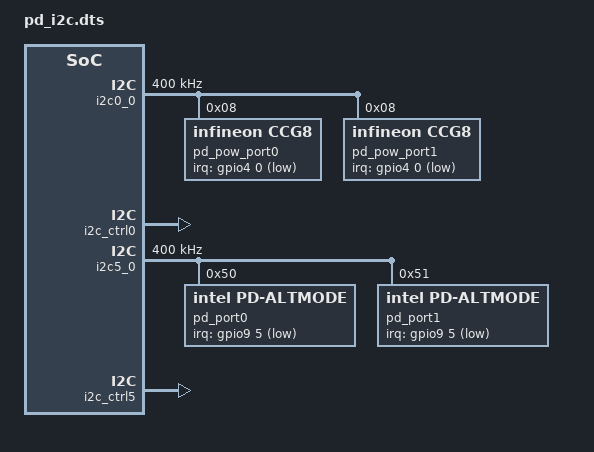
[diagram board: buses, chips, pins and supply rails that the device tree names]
/* Copyright 2023 The ChromiumOS Authors
 * Use of this source code is governed by a BSD-style license that can be
 * found in the LICENSE file.
 */

/ {
	named-i2c-ports {
		ec_pd_power: typec-aic1-power {
			i2c-port = <&i2c0_0>;
			enum-names = "I2C_PORT_TYPEC_AIC_1";
		};
		ec_pd_data: typec-aic-data {
			i2c-port = <&i2c5_0>;
			enum-names = "I2C_PORT_TYPEC_DATA";
		};
	};
};

/* typec-aic1-power */
&i2c0_0 {
	label = "I2C_PD_POWER";
	status = "okay";
	clock-frequency = <I2C_BITRATE_FAST>;
	pinctrl-0 = <&i2c0_0_sda_scl_gpb4_b5>;
	pinctrl-names = "default";
	pd_pow_port0: ccgP0@08 {
		compatible = "infineon,ccg8";
		reg = <0x08>;
		irq-gpios = <&gpio4 0 GPIO_ACTIVE_LOW>;
	};
	pd_pow_port1: ccgP1@08 {
		compatible = "infineon,ccg8";
		reg = <0x08>;
		irq-gpios = <&gpio4 0 GPIO_ACTIVE_LOW>;
	};
};

&i2c_ctrl0 {
	status = "okay";
};

/* typec-aic-data */
&i2c5_0 {
	label = "I2C_PD_DATA";
	status = "okay";
	clock-frequency = <I2C_BITRATE_FAST>;
	pinctrl-0 = <&i2c5_0_sda_scl_gp33_36>;
	pinctrl-names = "default";

	pd_port0: ccg@50 {
		compatible = "intel,pd-altmode";
		reg = <0x50>;
		irq-gpios = <&gpio9 5 GPIO_ACTIVE_LOW>;
	};
	pd_port1: ccg@51 {
		compatible = "intel,pd-altmode";
		reg = <0x51>;
		irq-gpios = <&gpio9 5 GPIO_ACTIVE_LOW>;
		irq-shared;
	};
};

&i2c_ctrl5 {
	status = "okay";
};
